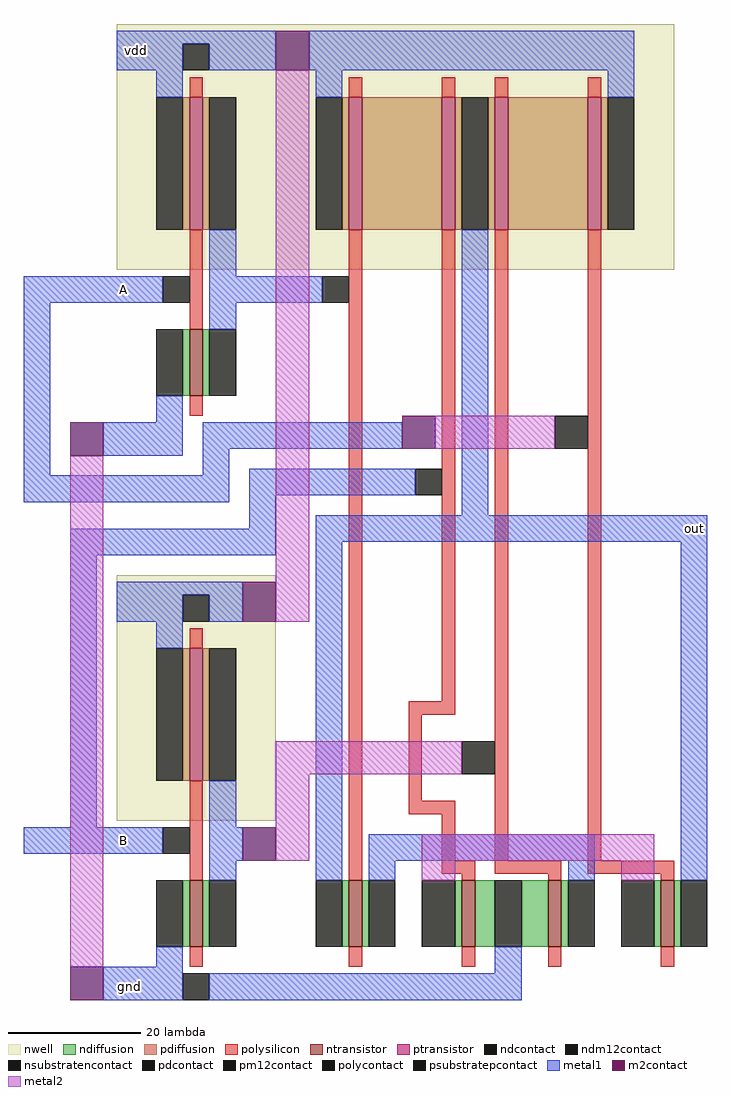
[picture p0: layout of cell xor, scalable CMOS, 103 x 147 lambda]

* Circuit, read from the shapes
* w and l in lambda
.subckt xor A B gnd out vdd
M1 n1 B gnd gnd nfet w=10 l=2
M2 n2 A gnd gnd nfet w=10 l=2
M3 n3 n2 out gnd nfet w=10 l=2
M4 gnd B n4 gnd nfet w=10 l=2
M5 n3 n1 gnd gnd nfet w=10 l=2
M6 out A n4 gnd nfet w=10 l=2
M7 n1 B vdd vdd pfet w=20 l=2
M8 n2 A vdd vdd pfet w=20 l=2
M9 n5 n2 vdd vdd pfet w=20 l=2
M10 out B n5 vdd pfet w=20 l=2
M11 n6 n1 out vdd pfet w=20 l=2
M12 vdd A n6 vdd pfet w=20 l=2
.ends

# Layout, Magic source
magic
tech scmos
<< nwell >>
rect 0 30 84 67
rect 0 -53 24 -16
<< ntransistor >>
rect 11 11 13 21
rect 11 -72 13 -62
rect 35 -72 37 -62
rect 52 -72 54 -62
rect 65 -72 67 -62
rect 82 -72 84 -62
<< ptransistor >>
rect 11 36 13 56
rect 35 36 37 56
rect 49 36 51 56
rect 57 36 59 56
rect 71 36 73 56
rect 11 -47 13 -27
<< ndiffusion >>
rect 10 11 11 21
rect 13 11 14 21
rect 10 -72 11 -62
rect 13 -72 14 -62
rect 34 -72 35 -62
rect 37 -72 38 -62
rect 51 -72 52 -62
rect 54 -72 57 -62
rect 61 -72 65 -62
rect 67 -72 68 -62
rect 81 -72 82 -62
rect 84 -72 85 -62
<< pdiffusion >>
rect 10 36 11 56
rect 13 36 14 56
rect 34 36 35 56
rect 37 36 49 56
rect 51 36 52 56
rect 56 36 57 56
rect 59 36 71 56
rect 73 36 74 56
rect 10 -47 11 -27
rect 13 -47 14 -27
<< ndcontact >>
rect 6 11 10 21
rect 14 11 18 21
rect 6 -72 10 -62
rect 14 -72 18 -62
rect 30 -72 34 -62
rect 38 -72 42 -62
rect 57 -72 61 -62
rect 68 -72 72 -62
rect 85 -72 89 -62
<< pdcontact >>
rect 6 36 10 56
rect 14 36 18 56
rect 30 36 34 56
rect 52 36 56 56
rect 74 36 78 56
rect 6 -47 10 -27
rect 14 -47 18 -27
<< psubstratepcontact >>
rect 10 -80 14 -76
<< nsubstratencontact >>
rect 10 60 14 64
rect 10 -23 14 -19
<< polysilicon >>
rect 11 56 13 59
rect 35 56 37 59
rect 49 56 51 59
rect 57 56 59 59
rect 71 56 73 59
rect 11 21 13 36
rect 11 8 13 11
rect 11 -27 13 -24
rect 11 -62 13 -47
rect 35 -62 37 36
rect 49 -35 51 36
rect 44 -37 51 -35
rect 44 -50 46 -37
rect 44 -52 51 -50
rect 49 -59 51 -52
rect 57 -59 59 36
rect 71 -59 73 36
rect 49 -61 54 -59
rect 57 -61 67 -59
rect 71 -61 84 -59
rect 52 -62 54 -61
rect 65 -62 67 -61
rect 82 -62 84 -61
rect 11 -75 13 -72
rect 35 -75 37 -72
rect 52 -75 54 -72
rect 65 -75 67 -72
rect 82 -75 84 -72
<< polycontact >>
rect 7 25 11 29
rect 31 25 35 29
rect 7 -58 11 -54
rect 45 -4 49 0
<< metal1 >>
rect 0 64 24 66
rect 0 60 10 64
rect 14 60 24 64
rect 29 60 78 66
rect 6 56 10 60
rect 30 56 34 60
rect 74 56 78 60
rect 14 29 18 36
rect -14 25 7 29
rect 14 25 31 29
rect -14 -1 -10 25
rect 14 21 18 25
rect 6 7 10 11
rect -2 2 10 7
rect 13 3 43 7
rect 13 -1 17 3
rect -14 -5 17 -1
rect 20 -4 45 0
rect 20 -9 24 -4
rect 52 -7 56 36
rect -7 -13 24 -9
rect 30 -11 89 -7
rect -7 -54 -3 -13
rect 0 -19 19 -17
rect 0 -23 10 -19
rect 14 -23 19 -19
rect 6 -27 10 -23
rect 14 -54 18 -47
rect -14 -58 7 -54
rect 14 -59 19 -54
rect 14 -62 18 -59
rect 30 -62 34 -11
rect 38 -59 72 -55
rect 38 -62 42 -59
rect 68 -62 72 -59
rect 85 -62 89 -11
rect 6 -75 10 -72
rect -2 -80 10 -75
rect 57 -76 61 -72
rect 14 -80 61 -76
<< m2contact >>
rect 24 60 29 66
rect -7 2 -2 7
rect 43 3 48 8
rect 19 -23 24 -17
rect 19 -59 24 -54
rect -7 -80 -2 -75
<< pm12contact >>
rect 66 3 71 8
rect 52 -46 57 -41
<< ndm12contact >>
rect 46 -72 51 -62
rect 76 -72 81 -62
<< metal2 >>
rect -7 -75 -2 2
rect 24 -23 29 60
rect 48 3 66 8
rect 24 -46 52 -41
rect 24 -59 29 -46
rect 46 -59 81 -55
rect 46 -62 51 -59
rect 76 -62 81 -59
<< labels >>
rlabel metal1 2 -78 2 -78 2 gnd
rlabel metal1 3 63 3 63 4 vdd
rlabel metal1 1 -56 1 -56 1 B
rlabel metal1 1 27 1 27 1 A
rlabel metal1 87 -9 87 -9 7 out
<< end >>
